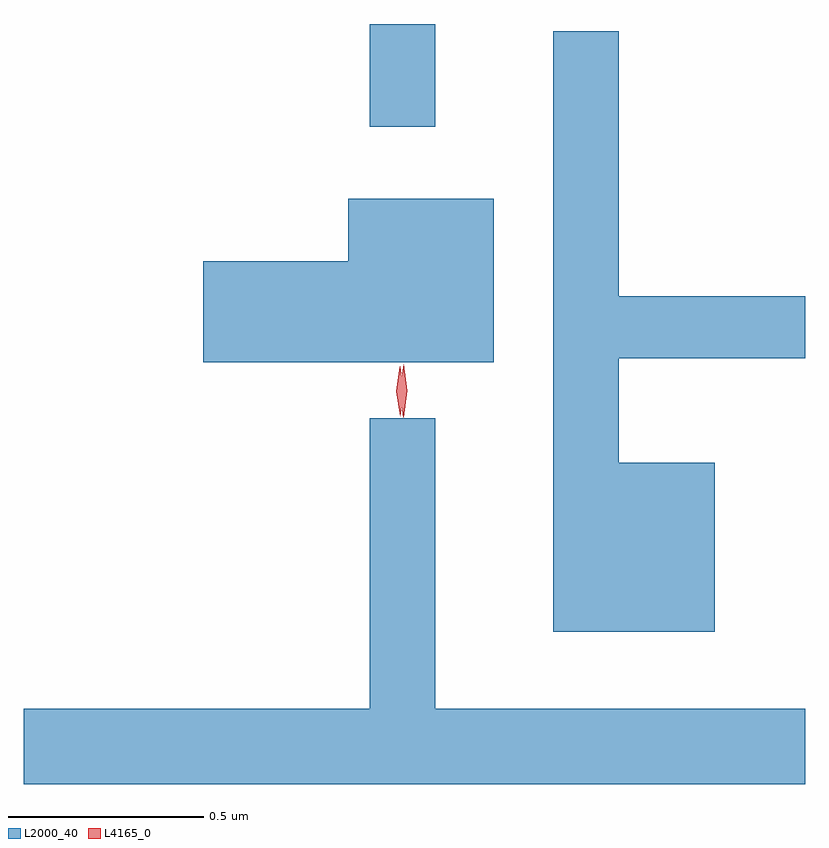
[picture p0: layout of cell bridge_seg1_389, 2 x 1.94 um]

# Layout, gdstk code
import gdstk
lib = gdstk.Library(unit=1e-6, precision=1e-09)
def R(c, l, rs):  # rectangles x0, y0, x1, y1
    for r in rs: c.add(gdstk.rectangle(r[:2], r[2:], *l))
def P(c, l, *ps):  # polygons
    for p in ps: c.add(gdstk.Polygon(p, *l))
L2000_40 = (2000, 40)
L4165_0 = (4165, 0)

bridge_seg1_389 = lib.new_cell('bridge_seg1_389')
R(bridge_seg1_389, L2000_40, [(838.431,841.393,838.599,841.656)])
P(bridge_seg1_389, L2000_40, [(839.314,840.534),(839.069,840.534),(839.069,840.801),(839.546,840.801),(839.546,840.959),(839.069,840.959),(839.069,841.638),(838.901,841.638),(838.901,840.101),(839.314,840.101)],
  [(838.749,841.209),(838.376,841.209),(838.376,841.049),(838.006,841.049),(838.006,840.791),(838.749,840.791)],
  [(839.546,839.904),(838.599,839.904),(838.599,840.648),(838.431,840.648),(838.431,839.904),(837.546,839.904),(837.546,839.712),(839.546,839.712)])
P(bridge_seg1_389, L4165_0, [(838.517,840.65),(838.517,840.65),(838.508,840.718),(838.518,840.786),(838.519,840.786),(838.519,840.786),(838.528,840.718),(838.518,840.65)],
  [(838.509,840.653),(838.509,840.653),(838.499,840.716),(838.508,840.779),(838.509,840.78),(838.509,840.779),(838.519,840.716),(838.51,840.653)])

lib.write_gds('bridge_seg1_389.gds')
